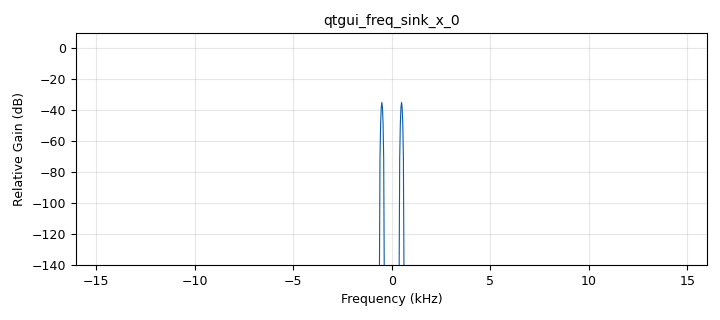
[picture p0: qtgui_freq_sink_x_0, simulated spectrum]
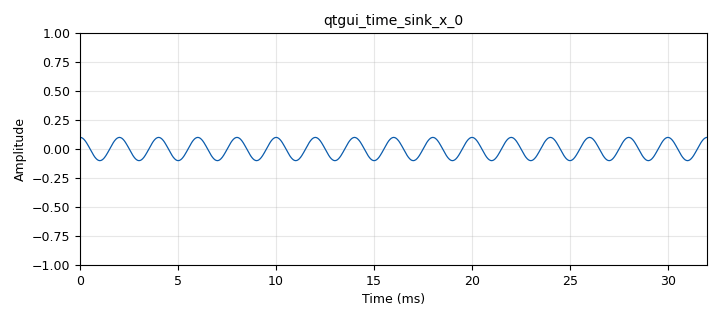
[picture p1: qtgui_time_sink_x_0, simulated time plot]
options:
  parameters:
    author: Rachit Garg
    description: Generate simple tones with only one frequency at a time
    generate_options: qt_gui
    id: simple_tone
    output_language: python
    title: Simple Tone
  states: {}

blocks:
- name: freq
  id: variable_qtgui_range
  parameters:
    start: '100'
    step: '100'
    stop: '32000'
    value: '500'
  states: {}
- name: samp_rate
  id: variable
  parameters:
    value: '32000'
  states: {}
- name: analog_sig_source_x_0
  id: analog_sig_source_x
  parameters:
    amp: '0.1'
    freq: freq
    offset: '0'
    phase: '0'
    samp_rate: samp_rate
    type: float
    waveform: analog.GR_COS_WAVE
  states: {}
- name: audio_sink_0
  id: audio_sink
  parameters:
    samp_rate: samp_rate
  states: {}
- name: qtgui_freq_sink_x_0
  id: qtgui_freq_sink_x
  parameters:
    bw: samp_rate
    fc: '0'
    fftsize: '1024'
    type: float
  states: {}
- name: qtgui_time_sink_x_0
  id: qtgui_time_sink_x
  parameters:
    size: '1024'
    srate: samp_rate
    type: float
  states: {}

connections:
- [analog_sig_source_x_0, '0', audio_sink_0, '0']
- [analog_sig_source_x_0, '0', qtgui_freq_sink_x_0, '0']
- [analog_sig_source_x_0, '0', qtgui_time_sink_x_0, '0']

metadata:
  file_format: 1
  grc_version: 3.10.7.0
